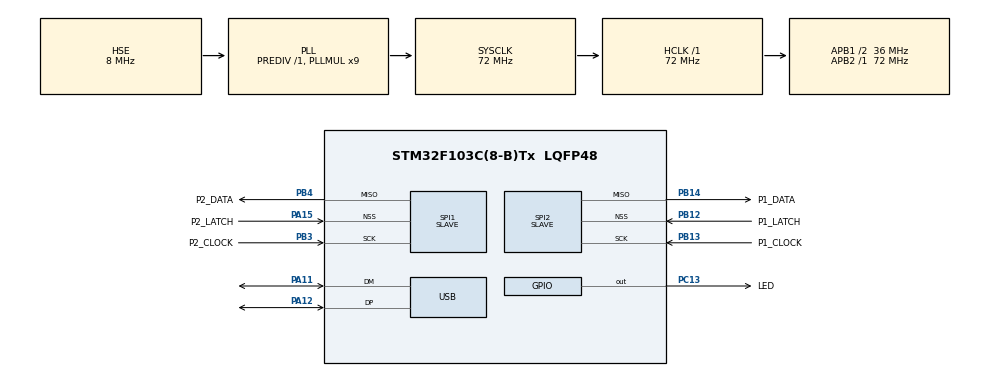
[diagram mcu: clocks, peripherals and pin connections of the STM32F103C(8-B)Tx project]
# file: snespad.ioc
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Dma.Request0=SPI1_TX
Dma.Request1=SPI2_TX
Dma.SPI1_TX.0.Direction=DMA_MEMORY_TO_PERIPH
Dma.SPI1_TX.0.Instance=DMA1_Channel3
Dma.SPI1_TX.0.MemDataAlignment=DMA_MDATAALIGN_HALFWORD
Dma.SPI1_TX.0.MemInc=DMA_MINC_ENABLE
Dma.SPI1_TX.0.Mode=DMA_CIRCULAR
Dma.SPI1_TX.0.PeriphDataAlignment=DMA_PDATAALIGN_HALFWORD
Dma.SPI1_TX.0.PeriphInc=DMA_PINC_DISABLE
Dma.SPI1_TX.0.Priority=DMA_PRIORITY_LOW
Dma.SPI2_TX.1.Direction=DMA_MEMORY_TO_PERIPH
Dma.SPI2_TX.1.Instance=DMA1_Channel5
Dma.SPI2_TX.1.MemDataAlignment=DMA_MDATAALIGN_HALFWORD
Dma.SPI2_TX.1.MemInc=DMA_MINC_ENABLE
Dma.SPI2_TX.1.Mode=DMA_CIRCULAR
Dma.SPI2_TX.1.PeriphDataAlignment=DMA_PDATAALIGN_HALFWORD
Dma.SPI2_TX.1.PeriphInc=DMA_PINC_DISABLE
Dma.SPI2_TX.1.Priority=DMA_PRIORITY_LOW
Mcu.Family=STM32F1
Mcu.Name=STM32F103C(8-B)Tx
Mcu.Package=LQFP48
NVIC.DMA1_Channel3_IRQn=true\:0\:0\:false\:false\:true\:false\:true\:true
NVIC.DMA1_Channel5_IRQn=true\:0\:0\:false\:false\:true\:false\:true\:true
NVIC.PriorityGroup=NVIC_PRIORITYGROUP_4
NVIC.USB_HP_CAN1_TX_IRQn=true\:0\:0\:false\:false\:true\:true\:true\:true
NVIC.USB_LP_CAN1_RX0_IRQn=true\:0\:0\:false\:false\:true\:true\:true\:true
PA11.Mode=Device
PA11.Signal=USB_DM
PA12.Mode=Device
PA12.Signal=USB_DP
PA13.Mode=Serial_Wire
PA13.Signal=SYS_JTMS-SWDIO
PA14.Mode=Serial_Wire
PA14.Signal=SYS_JTCK-SWCLK
PA15.GPIO_Label=P2_LATCH
PA15.Mode=NSS_Signal_Hard_Input
PA15.Signal=SPI1_NSS
PB12.GPIO_Label=P1_LATCH
PB12.Mode=NSS_Signal_Hard_Input
PB12.Signal=SPI2_NSS
PB13.GPIO_Label=P1_CLOCK
PB13.Mode=TX_Only_Simplex_Unidirect_Slave
PB13.Signal=SPI2_SCK
PB14.GPIO_Label=P1_DATA
PB14.Mode=TX_Only_Simplex_Unidirect_Slave
PB14.Signal=SPI2_MISO
PB3.GPIO_Label=P2_CLOCK
PB3.Mode=TX_Only_Simplex_Unidirect_Slave
PB3.Signal=SPI1_SCK
PB4.GPIO_Label=P2_DATA
PB4.Mode=TX_Only_Simplex_Unidirect_Slave
PB4.Signal=SPI1_MISO
PC13-TAMPER-RTC.GPIO_Label=LED
PC13-TAMPER-RTC.Signal=GPIO_Output
PC14-OSC32_IN.Mode=LSE-External-Oscillator
PC14-OSC32_IN.Signal=RCC_OSC32_IN
PC15-OSC32_OUT.Mode=LSE-External-Oscillator
PC15-OSC32_OUT.Signal=RCC_OSC32_OUT
PD0-OSC_IN.Mode=HSE-External-Oscillator
PD0-OSC_IN.Signal=RCC_OSC_IN
PD1-OSC_OUT.Mode=HSE-External-Oscillator
PD1-OSC_OUT.Signal=RCC_OSC_OUT
ProjectManager.HeapSize=0x200
ProjectManager.StackSize=0x400
ProjectManager.TargetToolchain=STM32CubeIDE
RCC.AHBFreq_Value=72000000
RCC.APB1CLKDivider=RCC_HCLK_DIV2
RCC.APB1Freq_Value=36000000
RCC.APB1TimFreq_Value=72000000
RCC.APB2Freq_Value=72000000
RCC.APB2TimFreq_Value=72000000
RCC.HCLKFreq_Value=72000000
RCC.PLLMUL=RCC_PLL_MUL9
RCC.SYSCLKFreq_VALUE=72000000
RCC.SYSCLKSource=RCC_SYSCLKSOURCE_PLLCLK
RCC.USBFreq_Value=48000000
RCC.USBPrescaler=RCC_USBCLKSOURCE_PLL_DIV1_5
SPI1.CLKPolarity=SPI_POLARITY_HIGH
SPI1.DataSize=SPI_DATASIZE_16BIT
SPI1.Direction=SPI_DIRECTION_2LINES
SPI1.Mode=SPI_MODE_SLAVE
SPI1.VirtualNSS=VM_NSSHARD
SPI1.VirtualType=VM_SLAVE
SPI2.CLKPolarity=SPI_POLARITY_HIGH
SPI2.DataSize=SPI_DATASIZE_16BIT
SPI2.Direction=SPI_DIRECTION_2LINES
SPI2.Mode=SPI_MODE_SLAVE
SPI2.VirtualNSS=VM_NSSHARD
SPI2.VirtualType=VM_SLAVE
board=custom

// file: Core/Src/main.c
/* USER CODE BEGIN Header */
/**
  ******************************************************************************
  * @file           : main.c
  * @brief          : Main program body
  ******************************************************************************
  * @attention
  *
  * Copyright (c) 2025 STMicroelectronics.
  * All rights reserved.
  *
  * This software is licensed under terms that can be found in the LICENSE file
  * in the root directory of this software component.
  * If no LICENSE file comes with this software, it is provided AS-IS.
  *
  ******************************************************************************
  */
/* USER CODE END Header */
#include "main.h"

SPI_HandleTypeDef hspi1;
SPI_HandleTypeDef hspi2;
DMA_HandleTypeDef hdma_spi1_tx;
DMA_HandleTypeDef hdma_spi2_tx;

PCD_HandleTypeDef hpcd_USB_FS;

void SystemClock_Config(void);
static void MX_GPIO_Init(void);
static void MX_DMA_Init(void);
static void MX_USB_PCD_Init(void);
static void MX_SPI2_Init(void);
static void MX_SPI1_Init(void);

/* USER CODE BEGIN 0 */
// nes  A(15), B(14), SELECT(13), START(12), UP(11), DOWN(10), LEFT(9), RIGHT(8)
// snes B(15), Y(14), SELECT(13), START(12), UP(11), DOWN(10), LEFT(9), RIGHT(8), A(7), X(6), L(5), R(4) 3 2 1 0
//current_buttons &= ~(1 << 5);
volatile uint16_t p1_snes_button_state = 0xFFFF;
volatile uint16_t p2_snes_button_state = 0xFFFF;
/* USER CODE END 0 */

int main(void)
{

  /* MCU Configuration--------------------------------------------------------*/

  /* Reset of all peripherals, Initializes the Flash interface and the Systick. */
  HAL_Init();

  /* Configure the system clock */
  SystemClock_Config();

  /* Initialize all configured peripherals */
  MX_GPIO_Init();
  MX_DMA_Init();
  MX_USB_PCD_Init();
  MX_SPI2_Init();
  MX_SPI1_Init();
  /* USER CODE BEGIN 2 */
  tud_init(BOARD_TUD_RHPORT);

  HAL_GPIO_WritePin(LED_GPIO_Port, LED_Pin, GPIO_PIN_RESET);

  HAL_SPI_Transmit_DMA(&hspi2, &p1_snes_button_state, 1);
  HAL_SPI_Transmit_DMA(&hspi1, &p2_snes_button_state, 1);
  /* USER CODE END 2 */

  /* Infinite loop */
  /* USER CODE BEGIN WHILE */
  while (1)
  {
	tud_task();

    /* USER CODE END WHILE */

  }
}

void SystemClock_Config(void)
{
  RCC_OscInitTypeDef RCC_OscInitStruct = {0};
  RCC_ClkInitTypeDef RCC_ClkInitStruct = {0};
  RCC_PeriphCLKInitTypeDef PeriphClkInit = {0};

  /** Initializes the RCC Oscillators according to the specified parameters
  * in the RCC_OscInitTypeDef structure.
  */
  RCC_OscInitStruct.OscillatorType = RCC_OSCILLATORTYPE_HSE;
  RCC_OscInitStruct.HSEState = RCC_HSE_ON;
  RCC_OscInitStruct.HSEPredivValue = RCC_HSE_PREDIV_DIV1;
  RCC_OscInitStruct.HSIState = RCC_HSI_ON;
  RCC_OscInitStruct.PLL.PLLState = RCC_PLL_ON;
  RCC_OscInitStruct.PLL.PLLSource = RCC_PLLSOURCE_HSE;
  RCC_OscInitStruct.PLL.PLLMUL = RCC_PLL_MUL9;
  if (HAL_RCC_OscConfig(&RCC_OscInitStruct) != HAL_OK)
  {
    Error_Handler();
  }

  /** Initializes the CPU, AHB and APB buses clocks
  */
  RCC_ClkInitStruct.ClockType = RCC_CLOCKTYPE_HCLK|RCC_CLOCKTYPE_SYSCLK
                              |RCC_CLOCKTYPE_PCLK1|RCC_CLOCKTYPE_PCLK2;
  RCC_ClkInitStruct.SYSCLKSource = RCC_SYSCLKSOURCE_PLLCLK;
  RCC_ClkInitStruct.AHBCLKDivider = RCC_SYSCLK_DIV1;
  RCC_ClkInitStruct.APB1CLKDivider = RCC_HCLK_DIV2;
  RCC_ClkInitStruct.APB2CLKDivider = RCC_HCLK_DIV1;

  if (HAL_RCC_ClockConfig(&RCC_ClkInitStruct, FLASH_LATENCY_2) != HAL_OK)
  {
    Error_Handler();
  }
  PeriphClkInit.PeriphClockSelection = RCC_PERIPHCLK_USB;
  PeriphClkInit.UsbClockSelection = RCC_USBCLKSOURCE_PLL_DIV1_5;
  if (HAL_RCCEx_PeriphCLKConfig(&PeriphClkInit) != HAL_OK)
  {
    Error_Handler();
  }
}

static void MX_SPI1_Init(void)
{

  /* SPI1 parameter configuration*/
  hspi1.Instance = SPI1;
  hspi1.Init.Mode = SPI_MODE_SLAVE;
  hspi1.Init.Direction = SPI_DIRECTION_2LINES;
  hspi1.Init.DataSize = SPI_DATASIZE_16BIT;
  hspi1.Init.CLKPolarity = SPI_POLARITY_HIGH;
  hspi1.Init.CLKPhase = SPI_PHASE_1EDGE;
  hspi1.Init.NSS = SPI_NSS_HARD_INPUT;
  hspi1.Init.FirstBit = SPI_FIRSTBIT_MSB;
  hspi1.Init.TIMode = SPI_TIMODE_DISABLE;
  hspi1.Init.CRCCalculation = SPI_CRCCALCULATION_DISABLE;
  hspi1.Init.CRCPolynomial = 10;
  if (HAL_SPI_Init(&hspi1) != HAL_OK)
  {
    Error_Handler();
  }

}

static void MX_SPI2_Init(void)
{

  /* SPI2 parameter configuration*/
  hspi2.Instance = SPI2;
  hspi2.Init.Mode = SPI_MODE_SLAVE;
  hspi2.Init.Direction = SPI_DIRECTION_2LINES;
  hspi2.Init.DataSize = SPI_DATASIZE_16BIT;
  hspi2.Init.CLKPolarity = SPI_POLARITY_HIGH;
  hspi2.Init.CLKPhase = SPI_PHASE_1EDGE;
  hspi2.Init.NSS = SPI_NSS_HARD_INPUT;
  hspi2.Init.FirstBit = SPI_FIRSTBIT_MSB;
  hspi2.Init.TIMode = SPI_TIMODE_DISABLE;
  hspi2.Init.CRCCalculation = SPI_CRCCALCULATION_DISABLE;
  hspi2.Init.CRCPolynomial = 10;
  if (HAL_SPI_Init(&hspi2) != HAL_OK)
  {
    Error_Handler();
  }

}

static void MX_USB_PCD_Init(void)
{

  hpcd_USB_FS.Instance = USB;
  hpcd_USB_FS.Init.dev_endpoints = 8;
  hpcd_USB_FS.Init.speed = PCD_SPEED_FULL;
  hpcd_USB_FS.Init.low_power_enable = DISABLE;
  hpcd_USB_FS.Init.lpm_enable = DISABLE;
  hpcd_USB_FS.Init.battery_charging_enable = DISABLE;
  if (HAL_PCD_Init(&hpcd_USB_FS) != HAL_OK)
  {
    Error_Handler();
  }

}

static void MX_DMA_Init(void)
{

  /* DMA controller clock enable */
  __HAL_RCC_DMA1_CLK_ENABLE();

  /* DMA interrupt init */
  /* DMA1_Channel3_IRQn interrupt configuration */
  HAL_NVIC_SetPriority(DMA1_Channel3_IRQn, 0, 0);
  HAL_NVIC_EnableIRQ(DMA1_Channel3_IRQn);
  /* DMA1_Channel5_IRQn interrupt configuration */
  HAL_NVIC_SetPriority(DMA1_Channel5_IRQn, 0, 0);
  HAL_NVIC_EnableIRQ(DMA1_Channel5_IRQn);

}

static void MX_GPIO_Init(void)
{
  GPIO_InitTypeDef GPIO_InitStruct = {0};

  /* GPIO Ports Clock Enable */
  __HAL_RCC_GPIOC_CLK_ENABLE();
  __HAL_RCC_GPIOD_CLK_ENABLE();
  __HAL_RCC_GPIOB_CLK_ENABLE();
  __HAL_RCC_GPIOA_CLK_ENABLE();

  /*Configure GPIO pin Output Level */
  HAL_GPIO_WritePin(LED_GPIO_Port, LED_Pin, GPIO_PIN_RESET);

  /*Configure GPIO pin : LED_Pin */
  GPIO_InitStruct.Pin = LED_Pin;
  GPIO_InitStruct.Mode = GPIO_MODE_OUTPUT_PP;
  GPIO_InitStruct.Pull = GPIO_NOPULL;
  GPIO_InitStruct.Speed = GPIO_SPEED_FREQ_LOW;
  HAL_GPIO_Init(LED_GPIO_Port, &GPIO_InitStruct);

}

/* USER CODE BEGIN 4 */

void update_snes_buttons(uint16_t p1, uint16_t p2)
{
    __disable_irq();
    p1_snes_button_state = p1;
    p2_snes_button_state = p2;
    HAL_GPIO_TogglePin(LED_GPIO_Port, LED_Pin);
    __enable_irq();
}

//--------------------------------------------------------------------+
// Device callbacks
//--------------------------------------------------------------------+
// Invoked when device is mounted
void tud_mount_cb(void)
{
  //blink_interval_ms = BLINK_MOUNTED;
}

// Invoked when device is unmounted
void tud_umount_cb(void)
{
  //blink_interval_ms = BLINK_NOT_MOUNTED;
}

// Invoked when usb bus is suspended
// remote_wakeup_en : if host allow us  to perform remote wakeup
// Within 7ms, device must draw an average of current less than 2.5 mA from bus
void tud_suspend_cb(bool remote_wakeup_en)
{
  (void) remote_wakeup_en;
  //blink_interval_ms = BLINK_SUSPENDED;
}

// Invoked when usb bus is resumed
void tud_resume_cb(void)
{
  //blink_interval_ms = tud_mounted() ? BLINK_MOUNTED : BLINK_NOT_MOUNTED;
}

//--------------------------------------------------------------------+
// USB HID
//--------------------------------------------------------------------+

// Invoked when received GET_REPORT control request
// Application must fill buffer report's content and return its length.
// Return zero will cause the stack to STALL request
uint16_t tud_hid_get_report_cb(uint8_t itf, uint8_t report_id, hid_report_type_t report_type, uint8_t* buffer, uint16_t reqlen)
{
  // TODO not Implemented
  (void) itf;
  (void) report_id;
  (void) report_type;
  (void) buffer;
  (void) reqlen;

  return 0;
}

// Invoked when received SET_REPORT control request or
// received data on OUT endpoint ( Report ID = 0, Type = 0 )
void tud_hid_set_report_cb(uint8_t itf, uint8_t report_id, hid_report_type_t report_type, uint8_t const* buffer, uint16_t bufsize)
{
  // This example doesn't use multiple report and report ID
  (void) itf;
  (void) report_id;
  (void) report_type;

  update_snes_buttons((buffer[0] | (buffer[1] << 8)), (buffer[2] | (buffer[3] << 8)));

  // echo back anything we received from host
  tud_hid_report(0, buffer, bufsize);
}
/* USER CODE END 4 */

void Error_Handler(void)
{
  /* USER CODE BEGIN Error_Handler_Debug */
  /* User can add his own implementation to report the HAL error return state */
  __disable_irq();
  while (1)
  {
	  HAL_GPIO_TogglePin(LED_GPIO_Port, LED_Pin);
	  HAL_Delay(3000);
  }
  /* USER CODE END Error_Handler_Debug */
}
